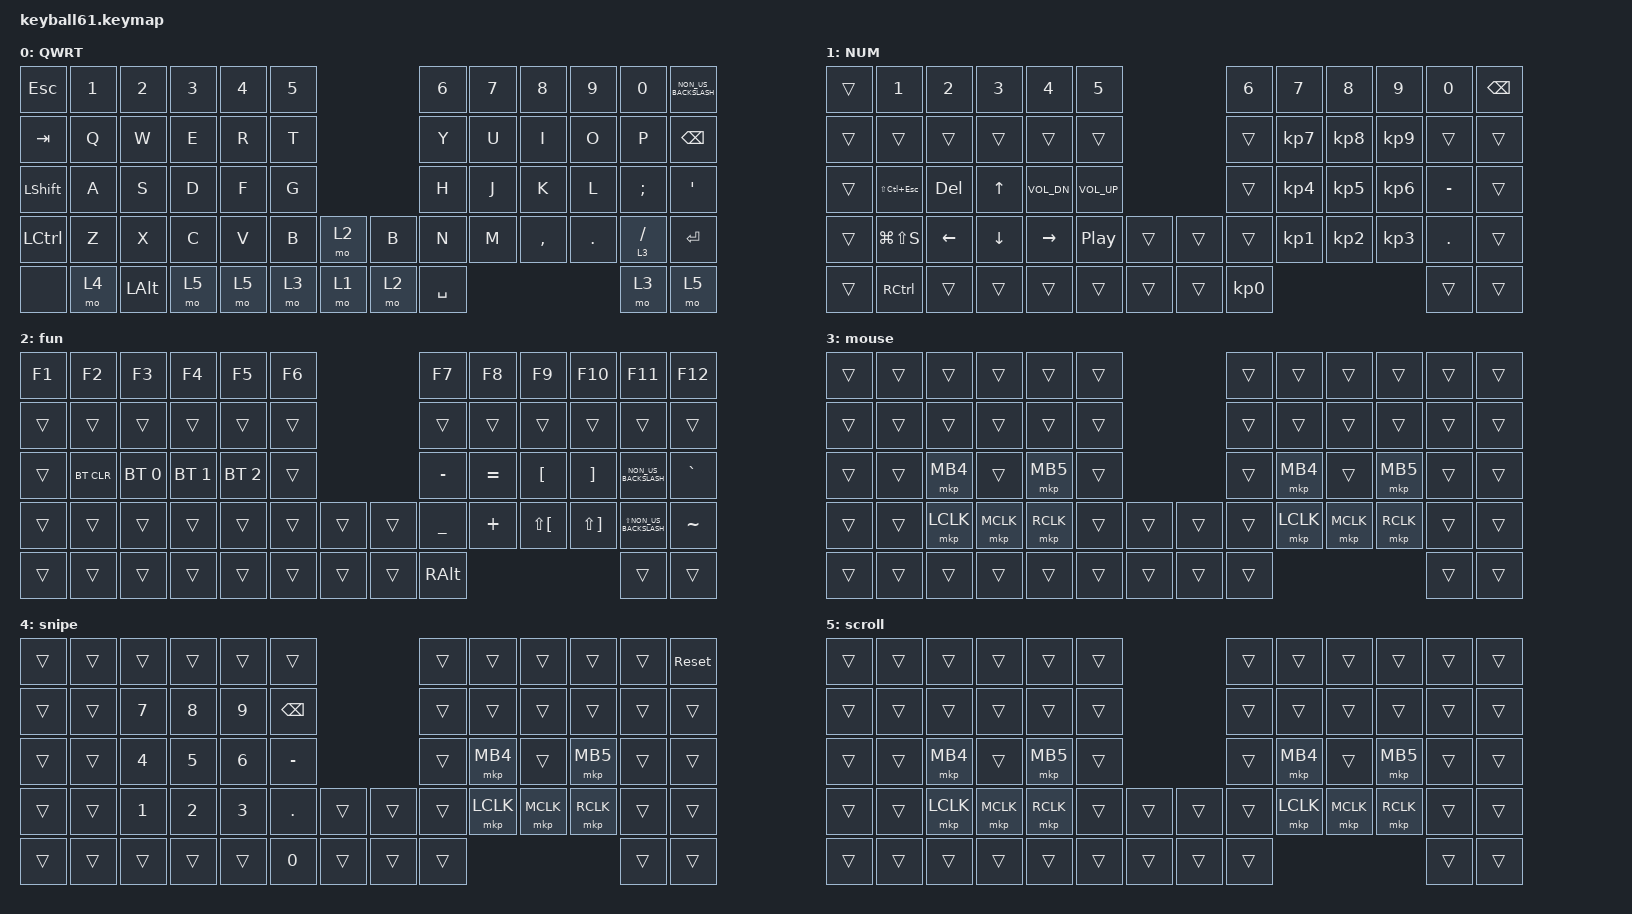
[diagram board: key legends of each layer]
#define DEFAULT 0
#define SYM     1
#define FUN     2
#define MOUSE   3
#define SCROLL  4
#define SNIPE   5

#include <behaviors/mouse_keys.dtsi>
#include <dt-bindings/zmk/mouse.h>
#include <behaviors.dtsi>
#include <dt-bindings/zmk/bt.h>
#include <dt-bindings/zmk/keys.h>
#include <dt-bindings/zmk/pointing.h>

&lt {
    tapping-term-ms = <240>;
    flavor = "balanced";
    quick-tap-ms = <150>;
};

&mt {
    tapping-term-ms = <200>;
    flavor = "tap-preferred";
    quick-tap-ms = <150>;
};

/ {
    combos {
        compatible = "zmk,combos";

        scroll {
            bindings = <&mo 5>;
            key-positions = <46 47>;
        };

        b {
            bindings = <&kp B>;
            key-positions = <44 45>;
        };
    };

    keymap {
        compatible = "zmk,keymap";

        default_layer {
            label = "QWRT";
            bindings = <
&kp ESC         &kp N1  &kp N2        &kp N3  &kp N4  &kp N5                &kp N6     &kp N7  &kp N8     &kp N9   &kp N0      &kp NON_US_BACKSLASH
&kp TAB         &kp Q   &kp W         &kp E   &kp R   &kp T                 &kp Y      &kp U   &kp I      &kp O    &kp P       &kp BACKSPACE
&kp LEFT_SHIFT  &kp A   &kp S         &kp D   &kp F   &kp G                 &kp H      &kp J   &kp K      &kp L    &kp SEMI    &kp SQT
&kp LCTRL       &kp Z   &kp X         &kp C   &kp V   &kp B   &mo 2  &kp B  &kp N      &kp M   &kp COMMA  &kp DOT  &lt 3 FSLH  &kp ENTER
&none           &mo 4   &kp LEFT_ALT  &mo 5   &mo 5   &mo 3   &mo 1  &mo 2  &kp SPACE                              &mo 3       &mo 5
            >;
        };

        number_layer {
            bindings = <
&trans  &kp N1              &kp N2          &kp N3          &kp N4           &kp N5                            &kp N6           &kp N7           &kp N8           &kp N9           &kp N0      &kp BACKSPACE
&trans  &trans              &trans          &trans          &trans           &trans                            &trans           &kp KP_NUMBER_7  &kp KP_NUMBER_8  &kp KP_NUMBER_9  &trans      &trans
&trans  &kp LS(LC(ESCAPE))  &kp DELETE      &kp UP          &kp C_VOL_DN     &kp C_VOL_UP                      &trans           &kp KP_NUMBER_4  &kp KP_N5        &kp KP_NUMBER_6  &kp MINUS   &trans
&trans  &kp LG(LS(S))       &kp LEFT_ARROW  &kp DOWN_ARROW  &kp RIGHT_ARROW  &kp C_PLAY_PAUSE  &trans  &trans  &trans           &kp KP_NUMBER_1  &kp KP_NUMBER_2  &kp KP_NUMBER_3  &kp PERIOD  &trans
&trans  &kp RIGHT_CONTROL   &trans          &trans          &trans           &trans            &trans  &trans  &kp KP_NUMBER_0                                                     &trans      &trans
            >;

            label = "NUM";
        };

        function_layer {
            label = "fun";
            bindings = <
&kp F1  &kp F2      &kp F3        &kp F4        &kp F5        &kp F6                  &kp F7          &kp F8     &kp F9                &kp F10                &kp F11                   &kp F12
&trans  &trans      &trans        &trans        &trans        &trans                  &trans          &trans     &trans                &trans                 &trans                    &trans
&trans  &bt BT_CLR  &bt BT_SEL 0  &bt BT_SEL 1  &bt BT_SEL 2  &trans                  &kp MINUS       &kp EQUAL  &kp LEFT_BRACKET      &kp RIGHT_BRACKET      &kp NON_US_BACKSLASH      &kp GRAVE
&trans  &trans      &trans        &trans        &trans        &trans  &trans  &trans  &kp UNDERSCORE  &kp PLUS   &kp LS(LEFT_BRACKET)  &kp LS(RIGHT_BRACKET)  &kp LS(NON_US_BACKSLASH)  &kp TILDE
&trans  &trans      &trans        &trans        &trans        &trans  &trans  &trans  &kp RALT                                                                &trans                    &trans
            >;
        };

        mouse_layer {
            label = "mouse";
            bindings = <
&trans  &trans  &trans     &trans     &trans     &trans                  &trans  &trans     &trans     &trans     &trans  &trans
&trans  &trans  &trans     &trans     &trans     &trans                  &trans  &trans     &trans     &trans     &trans  &trans
&trans  &trans  &mkp MB4   &trans     &mkp MB5   &trans                  &trans  &mkp MB4   &trans     &mkp MB5   &trans  &trans
&trans  &trans  &mkp LCLK  &mkp MCLK  &mkp RCLK  &trans  &trans  &trans  &trans  &mkp LCLK  &mkp MCLK  &mkp RCLK  &trans  &trans
&trans  &trans  &trans     &trans     &trans     &trans  &trans  &trans  &trans                                   &trans  &trans
            >;
        };

        snipe_layer {
            label = "snipe";
            bindings = <
&trans  &trans  &trans        &trans        &trans        &trans                         &trans  &trans     &trans     &trans     &trans  &sys_reset
&trans  &trans  &kp N7        &kp N8        &kp N9        &kp BACKSPACE                  &trans  &trans     &trans     &trans     &trans  &trans
&trans  &trans  &kp NUMBER_4  &kp N5        &kp NUMBER_6  &kp MINUS                      &trans  &mkp MB4   &trans     &mkp MB5   &trans  &trans
&trans  &trans  &kp NUMBER_1  &kp NUMBER_2  &kp NUMBER_3  &kp PERIOD     &trans  &trans  &trans  &mkp LCLK  &mkp MCLK  &mkp RCLK  &trans  &trans
&trans  &trans  &trans        &trans        &trans        &kp N0         &trans  &trans  &trans                                   &trans  &trans
            >;
        };

        scroll_layer {
            label = "scroll";
            bindings = <
&trans  &trans  &trans     &trans     &trans     &trans                  &trans  &trans     &trans     &trans     &trans  &trans
&trans  &trans  &trans     &trans     &trans     &trans                  &trans  &trans     &trans     &trans     &trans  &trans
&trans  &trans  &mkp MB4   &trans     &mkp MB5   &trans                  &trans  &mkp MB4   &trans     &mkp MB5   &trans  &trans
&trans  &trans  &mkp LCLK  &mkp MCLK  &mkp RCLK  &trans  &trans  &trans  &trans  &mkp LCLK  &mkp MCLK  &mkp RCLK  &trans  &trans
&trans  &trans  &trans     &trans     &trans     &trans  &trans  &trans  &trans                                   &trans  &trans
            >;
        };
    };
};
